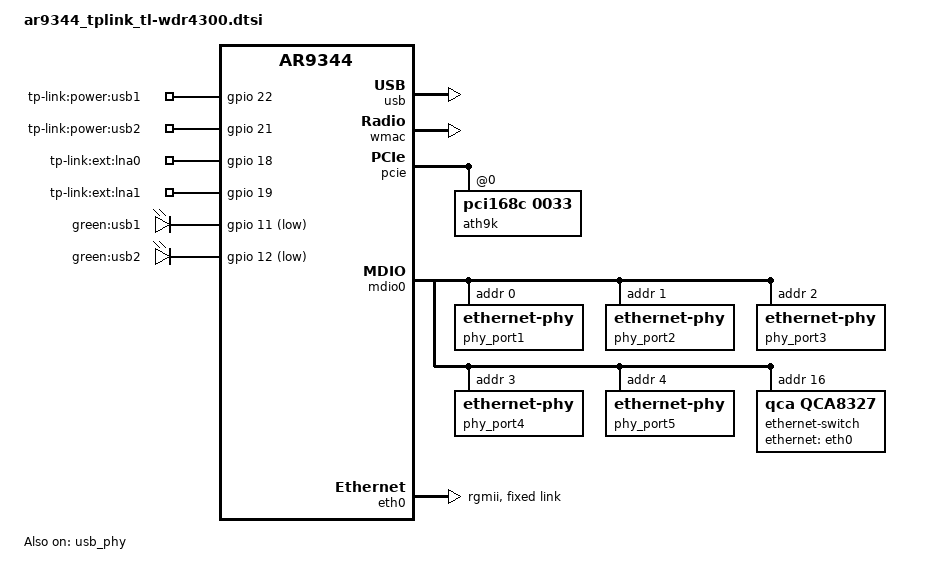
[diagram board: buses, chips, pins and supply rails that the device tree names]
// SPDX-License-Identifier: GPL-2.0-or-later OR MIT

#include "ar9344_tplink_tl-wdrxxxx.dtsi"
#include <dt-bindings/leds/common.h>

/ {
	aliases {
		label-mac-device = &ath9k;
	};

	gpio-export {
		compatible = "gpio-export";

		gpio_usb1_power {
			gpio-export,name = "tp-link:power:usb1";
			gpio-export,output = <1>;
			gpios = <&gpio 22 GPIO_ACTIVE_HIGH>;
		};

		gpio_usb2_power {
			gpio-export,name = "tp-link:power:usb2";
			gpio-export,output = <1>;
			gpios = <&gpio 21 GPIO_ACTIVE_HIGH>;
		};

		gpio_ext_lna0 {
			gpio-export,name = "tp-link:ext:lna0";
			gpio-export,output = <1>;
			gpios = <&gpio 18 GPIO_ACTIVE_HIGH>;
		};

		gpio_ext_lna1 {
			gpio-export,name = "tp-link:ext:lna1";
			gpio-export,output = <1>;
			gpios = <&gpio 19 GPIO_ACTIVE_HIGH>;
		};
	};
};

&leds {
	usb1 {
		label = "green:usb1";
		gpios = <&gpio 11 GPIO_ACTIVE_LOW>;
		trigger-sources = <&hub_port1>;
		linux,default-trigger = "usbport";
	};

	usb2 {
		label = "green:usb2";
		gpios = <&gpio 12 GPIO_ACTIVE_LOW>;
		trigger-sources = <&hub_port2>;
		linux,default-trigger = "usbport";
	};
};

&usb {
	status = "okay";
};

&hub_port {
	#address-cells = <1>;
	#size-cells = <0>;

	hub_port1: port@1 {
		reg = <1>;
		#trigger-source-cells = <0>;
	};

	hub_port2: port@2 {
		reg = <2>;
		#trigger-source-cells = <0>;
	};
};

&usb_phy {
	status = "okay";
};

&wmac {
	status = "okay";
	nvmem-cells = <&macaddr_uboot_1fc00 (-1)>, <&cal_art_1000>;
	nvmem-cell-names = "mac-address", "calibration";
};

&pcie {
	status = "okay";

	ath9k: wifi@0,0 {
		compatible = "pci168c,0033";
		reg = <0x0000 0 0 0 0>;
		nvmem-cells = <&macaddr_uboot_1fc00 0>, <&cal_art_5000>;
		nvmem-cell-names = "mac-address", "calibration";

		led {
			led-sources = <0>;
			led-active-low;
		};
	};
};

&mdio0 {
	status = "okay";

	phy_port1: ethernet-phy@0 {
		reg = <0>;
	};

	phy_port2: ethernet-phy@1 {
		reg = <1>;
	};

	phy_port3: ethernet-phy@2 {
		reg = <2>;
	};

	phy_port4: ethernet-phy@3 {
		reg = <3>;
	};

	phy_port5: ethernet-phy@4 {
		reg = <4>;
	};

	ethernet-switch@10 {
		compatible = "qca,qca8327";
		#address-cells = <1>;
		#size-cells = <0>;

		reg = <0x10>;

		ethernet-ports {
			#address-cells = <1>;
			#size-cells = <0>;

			ethernet-port@0 {
				reg = <0>;
				ethernet = <&eth0>;
				phy-mode = "rgmii-id";

				fixed-link {
					speed = <1000>;
					full-duplex;
				};
			};

			ethernet-port@1 {
				reg = <1>;
				label = "wan";
				phy-handle = <&phy_port1>;

				leds {
					#address-cells = <1>;
					#size-cells = <0>;

					led@0 {
						reg = <0>;
						color = <LED_COLOR_ID_GREEN>;
						function = LED_FUNCTION_WAN;
						default-state = "keep";
					};
				};
			};

			ethernet-port@2 {
				reg = <2>;
				label = "lan1";
				phy-handle = <&phy_port2>;

				leds {
					#address-cells = <1>;
					#size-cells = <0>;

					led@0 {
						reg = <0>;
						color = <LED_COLOR_ID_GREEN>;
						function = LED_FUNCTION_LAN;
						default-state = "keep";
					};
				};
			};

			ethernet-port@3 {
				reg = <3>;
				label = "lan2";
				phy-handle = <&phy_port3>;

				leds {
					#address-cells = <1>;
					#size-cells = <0>;

					led@0 {
						reg = <0>;
						color = <LED_COLOR_ID_GREEN>;
						function = LED_FUNCTION_LAN;
						default-state = "keep";
					};
				};
			};

			ethernet-port@4 {
				reg = <4>;
				label = "lan3";
				phy-handle = <&phy_port4>;

				leds {
					#address-cells = <1>;
					#size-cells = <0>;

					led@0 {
						reg = <0>;
						color = <LED_COLOR_ID_GREEN>;
						function = LED_FUNCTION_LAN;
						default-state = "keep";
					};
				};
			};

			ethernet-port@5 {
				reg = <5>;
				label = "lan4";
				phy-handle = <&phy_port5>;

				leds {
					#address-cells = <1>;
					#size-cells = <0>;

					led@0 {
						reg = <0>;
						color = <LED_COLOR_ID_GREEN>;
						function = LED_FUNCTION_LAN;
						default-state = "keep";
					};
				};
			};
		};
	};
};

&eth0 {
	status = "okay";

	/* default for ar934x, except for 1000M */
	pll-data = <0x06000000 0x00000101 0x00001616>;

	nvmem-cells = <&macaddr_uboot_1fc00 0>;
	nvmem-cell-names = "mac-address";

	phy-mode = "rgmii";

	fixed-link {
		speed = <1000>;
		full-duplex;
	};
};
